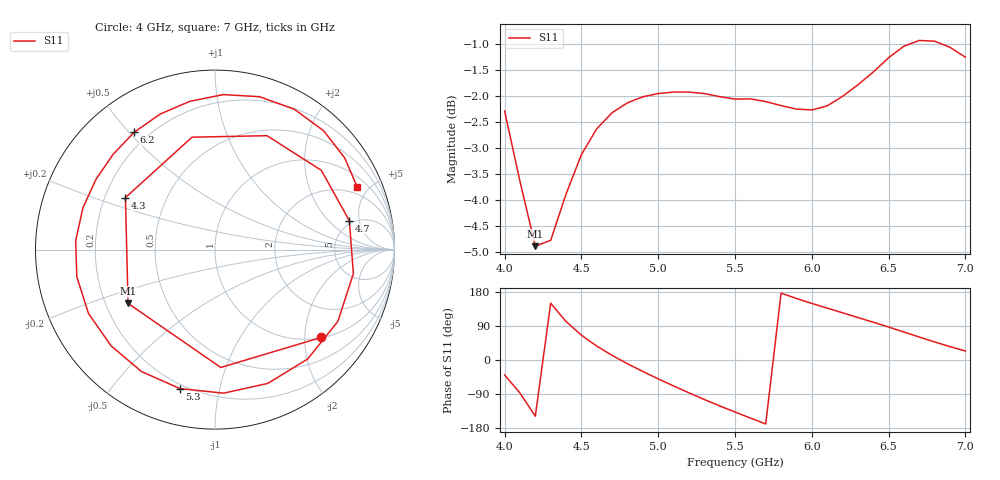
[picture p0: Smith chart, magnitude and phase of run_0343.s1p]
! Touchstone file exported from HFSS 2024.2.0
!  File:  C:/Users/wsak9/Desktop/Sim Fast/Widenad Patch/WP_AI_V1_sweep.aedt
!  Generated:  05:33:19 AM Oct 14, 2026
!  Design:  A1_model
!  Project:  WP_AI_V1_sweep
!  Setup:  Setup1
!  Solution:  Sweep
! Variables:
!  Air_gap = 2.6mm
!  Curve_Amp1 = 1.08
!  Curve_len1 = 1
!  Curve_pos = 13.18mm
!  Extra = 7.34mm
!  H_sub = 0.79mm
!  L_Patch = 22.36mm
!  L_Patch1 = 15.7mm
!  Sx = 1.09mm
!  Sy = 2.55mm
!  WS = 1.19mm
!  W_Patch = 16.9mm
!  W_Patch1 = 8.36mm
!Data is not renormalized
# GHz S MA
! Terminal data exported
! Port[1] = 1
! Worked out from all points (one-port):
!   31 points, 4 GHz to 7 GHz, reference per port
!   lowest |S11| = -4.9 dB at 4.2 GHz (marker M1), VSWR 3.65
!   |S11| at or under -10 dB: nowhere
!   S11 on the Smith chart (normalised r, x): 4 GHz: 1.01, -2.41; 4.3 GHz: 0.29, +0.25; 4.7 GHz: 4.63, +3.61; 5.3 GHz: 0.18, -0.76; 6.2 GHz: 0.15, +0.52; 7 GHz: 1.52, +4.23
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4  0.7685 -39.5
4.1  0.6576 -87.2
4.2  0.5696 -148.3
4.3  0.577 149.9
4.4  0.6393 101.5
4.5  0.6977 65.4
4.6  0.7388 36.7
4.7  0.7656 12.2
4.8  0.7826 -9.9
4.9  0.793 -30.3
5  0.7988 -49.8
5.1  0.8014 -68.5
5.2  0.8014 -86.6
5.3  0.7988 -104.2
5.4  0.7933 -121.1
5.5  0.789 -137.3
5.6  0.7895 -153.2
5.7  0.7847 -168.8
5.8  0.7777 176.4
5.9  0.7718 162.4
6.2  0.7938 124.6
6.3  0.8144 112.1
6.5  0.8647 86.9
6.6  0.8872 73.8
6.7  0.8985 60.5
6.8  0.897 47.6
6.9  0.8849 35.3
7  0.8658 23.8
